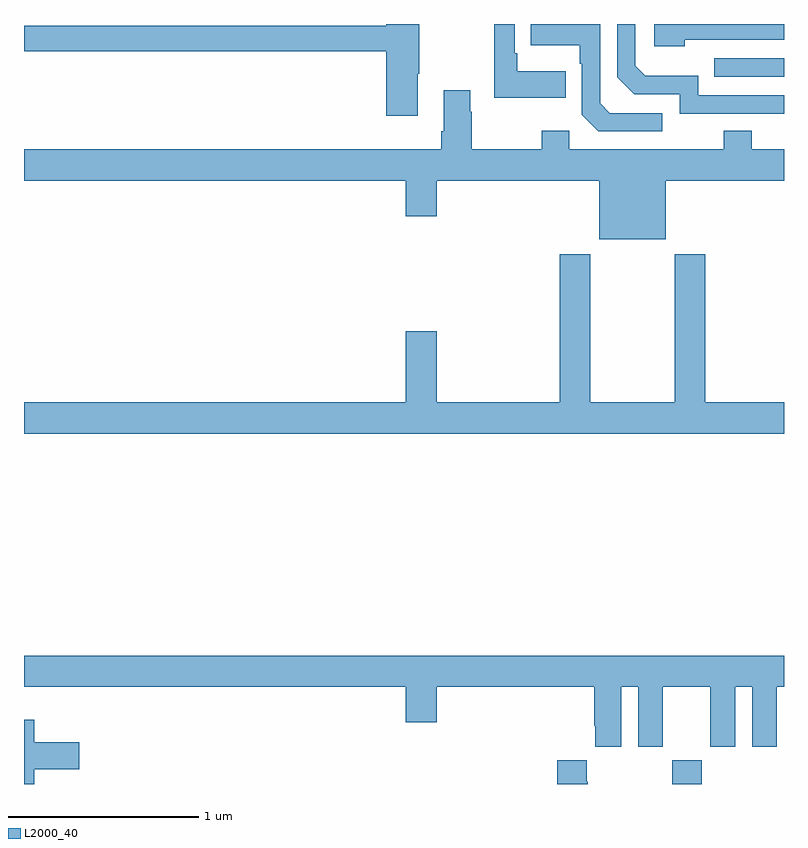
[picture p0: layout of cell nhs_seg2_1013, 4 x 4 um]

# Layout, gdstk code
import gdstk
lib = gdstk.Library(unit=1e-6, precision=1e-09)
def R(c, l, rs):  # rectangles x0, y0, x1, y1
    for r in rs: c.add(gdstk.rectangle(r[:2], r[2:], *l))
def P(c, l, *ps):  # polygons
    for p in ps: c.add(gdstk.Polygon(p, *l))
L2000_40 = (2000, 40)

nhs_seg2_1013 = lib.new_cell('nhs_seg2_1013')
R(nhs_seg2_1013, L2000_40, [(166.411,637.8,166.566,637.924), (166.633,641.523,167,641.619)])
P(nhs_seg2_1013, L2000_40, [(167,641.424),(166.548,641.424),(166.548,641.527),(166.271,641.527),(166.218,641.58),(166.218,641.8),(166.122,641.8),(166.122,641.52),(166.212,641.43),(166.452,641.43),(166.452,641.328),(167,641.328)],
  [(166.36,641.331),(166.083,641.331),(166.032,641.382),(166.032,641.8),(165.667,641.8),(165.667,641.687),(165.924,641.687),(165.924,641.591),(165.936,641.591),(165.936,641.322),(166.023,641.235),(166.36,641.235)],
  [(165.851,641.551),(165.595,641.551),(165.595,641.647),(165.582,641.647),(165.582,641.8),(165.474,641.8),(165.474,641.411),(165.851,641.411)],
  [(165.073,641.539),(165.081,641.539),(165.081,641.8),(164.906,641.8),(164.906,641.792),(163,641.792),(163,641.656),(164.906,641.656),(164.906,641.316),(165.073,641.316)],
  [(166.478,641.718),(167,641.718),(167,641.8),(166.317,641.8),(166.317,641.684),(166.478,641.684)],
  [(166.378,640.976),(167,640.976),(167,641.14),(166.831,641.14),(166.831,641.239),(166.684,641.239),(166.684,641.14),(165.87,641.14),(165.87,641.239),(165.724,641.239),(165.724,641.14),(165.357,641.14),(165.357,641.339),(165.349,641.339),(165.349,641.452),(165.209,641.452),(165.209,641.236),(165.197,641.236),(165.197,641.14),(163,641.14),(163,640.976),(165.008,640.976),(165.008,640.788),(165.172,640.788),(165.172,640.976),(166.028,640.976),(166.028,640.667),(166.378,640.667)],
  [(167,639.808),(166.586,639.808),(166.586,640.588),(166.426,640.588),(166.426,639.808),(165.981,639.808),(165.981,640.588),(165.821,640.588),(165.821,639.808),(165.172,639.808),(165.172,640.183),(165.008,640.183),(165.008,639.808),(163,639.808),(163,639.644),(167,639.644)],
  [(166.144,638.312),(166.232,638.312),(166.232,637.995),(166.363,637.995),(166.363,638.312),(166.613,638.312),(166.613,637.995),(166.744,637.995),(166.744,638.312),(166.832,638.312),(166.832,637.995),(166.963,637.995),(166.963,638.312),(167,638.312),(167,638.476),(163,638.476),(163,638.312),(165.008,638.312),(165.008,638.124),(165.172,638.124),(165.172,638.312),(166.001,638.312),(166.001,638.107),(166.007,638.107),(166.007,637.995),(166.144,637.995)],
  [(163.055,637.877),(163.291,637.877),(163.291,638.019),(163.055,638.019),(163.055,638.137),(163,638.137),(163,637.8),(163.055,637.8)],
  [(165.966,637.811),(165.961,637.811),(165.961,637.924),(165.806,637.924),(165.806,637.8),(165.966,637.8)])

lib.write_gds('nhs_seg2_1013.gds')
